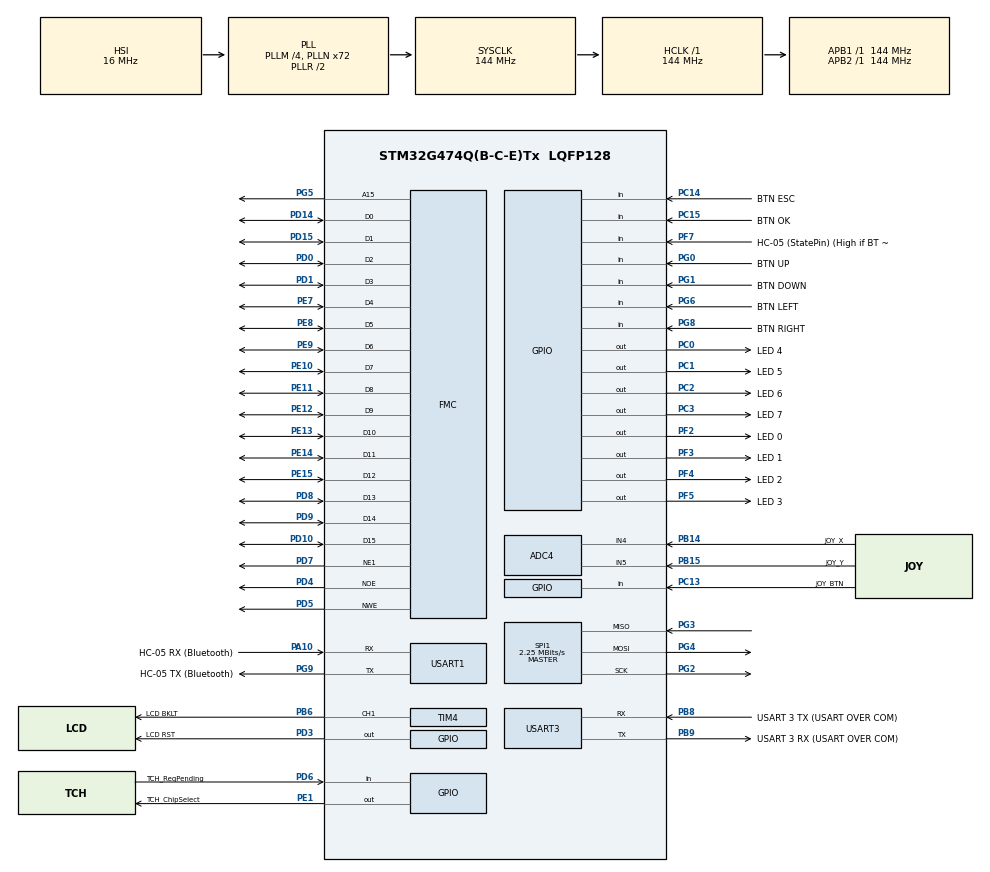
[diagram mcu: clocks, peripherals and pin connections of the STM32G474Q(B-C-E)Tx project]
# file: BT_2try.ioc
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ADC4.Channel-0\#ChannelRegularConversion=ADC_CHANNEL_4
ADC4.Channel-1\#ChannelRegularConversion=ADC_CHANNEL_5
ADC4.DMAContinuousRequests=ENABLE
ADC4.ExternalTrigConv=ADC_EXTERNALTRIG_T1_TRGO
ADC4.NbrOfConversion=2
ADC4.NbrOfConversionFlag=1
ADC4.OffsetNumber-0\#ChannelRegularConversion=ADC_OFFSET_NONE
ADC4.OffsetNumber-1\#ChannelRegularConversion=ADC_OFFSET_NONE
ADC4.Rank-0\#ChannelRegularConversion=1
ADC4.Rank-1\#ChannelRegularConversion=2
ADC4.SamplingTime-0\#ChannelRegularConversion=ADC_SAMPLETIME_640CYCLES_5
ADC4.SamplingTime-1\#ChannelRegularConversion=ADC_SAMPLETIME_640CYCLES_5
Dma.ADC4.2.Direction=DMA_PERIPH_TO_MEMORY
Dma.ADC4.2.EventEnable=DISABLE
Dma.ADC4.2.Instance=DMA1_Channel3
Dma.ADC4.2.MemDataAlignment=DMA_MDATAALIGN_HALFWORD
Dma.ADC4.2.MemInc=DMA_MINC_ENABLE
Dma.ADC4.2.Mode=DMA_CIRCULAR
Dma.ADC4.2.PeriphDataAlignment=DMA_PDATAALIGN_HALFWORD
Dma.ADC4.2.PeriphInc=DMA_PINC_DISABLE
Dma.ADC4.2.Polarity=HAL_DMAMUX_REQ_GEN_RISING
Dma.ADC4.2.Priority=DMA_PRIORITY_LOW
Dma.ADC4.2.RequestNumber=1
Dma.ADC4.2.SignalID=NONE
Dma.ADC4.2.SyncEnable=DISABLE
Dma.ADC4.2.SyncPolarity=HAL_DMAMUX_SYNC_NO_EVENT
Dma.ADC4.2.SyncRequestNumber=1
Dma.ADC4.2.SyncSignalID=NONE
Dma.Request0=USART3_RX
Dma.Request1=USART1_RX
Dma.Request2=ADC4
Dma.USART1_RX.1.Direction=DMA_PERIPH_TO_MEMORY
Dma.USART1_RX.1.EventEnable=DISABLE
Dma.USART1_RX.1.Instance=DMA1_Channel1
Dma.USART1_RX.1.MemDataAlignment=DMA_MDATAALIGN_BYTE
Dma.USART1_RX.1.MemInc=DMA_MINC_ENABLE
Dma.USART1_RX.1.Mode=DMA_NORMAL
Dma.USART1_RX.1.PeriphDataAlignment=DMA_PDATAALIGN_BYTE
Dma.USART1_RX.1.PeriphInc=DMA_PINC_DISABLE
Dma.USART1_RX.1.Polarity=HAL_DMAMUX_REQ_GEN_RISING
Dma.USART1_RX.1.Priority=DMA_PRIORITY_LOW
Dma.USART1_RX.1.RequestNumber=1
Dma.USART1_RX.1.SignalID=NONE
Dma.USART1_RX.1.SyncEnable=DISABLE
Dma.USART1_RX.1.SyncPolarity=HAL_DMAMUX_SYNC_NO_EVENT
Dma.USART1_RX.1.SyncRequestNumber=1
Dma.USART1_RX.1.SyncSignalID=NONE
Dma.USART3_RX.0.Direction=DMA_PERIPH_TO_MEMORY
Dma.USART3_RX.0.EventEnable=DISABLE
Dma.USART3_RX.0.Instance=DMA1_Channel2
Dma.USART3_RX.0.MemDataAlignment=DMA_MDATAALIGN_BYTE
Dma.USART3_RX.0.MemInc=DMA_MINC_ENABLE
Dma.USART3_RX.0.Mode=DMA_NORMAL
Dma.USART3_RX.0.PeriphDataAlignment=DMA_PDATAALIGN_BYTE
Dma.USART3_RX.0.PeriphInc=DMA_PINC_DISABLE
Dma.USART3_RX.0.Polarity=HAL_DMAMUX_REQ_GEN_RISING
Dma.USART3_RX.0.Priority=DMA_PRIORITY_LOW
Dma.USART3_RX.0.RequestNumber=1
Dma.USART3_RX.0.SignalID=NONE
Dma.USART3_RX.0.SyncEnable=DISABLE
Dma.USART3_RX.0.SyncPolarity=HAL_DMAMUX_SYNC_NO_EVENT
Dma.USART3_RX.0.SyncRequestNumber=1
Dma.USART3_RX.0.SyncSignalID=NONE
FMC.AddressSetupTime1=1
FMC.BusTurnAroundDuration1=1
FMC.DataHoldTime1=1
FMC.DataSetupTime1=1
Mcu.Family=STM32G4
Mcu.Name=STM32G474Q(B-C-E)Tx
Mcu.Package=LQFP128
NVIC.DMA1_Channel1_IRQn=true\:0\:0\:false\:false\:true\:false\:true\:true
NVIC.DMA1_Channel2_IRQn=true\:0\:0\:false\:false\:true\:false\:true\:true
NVIC.DMA1_Channel3_IRQn=true\:0\:0\:false\:false\:true\:false\:true\:true
NVIC.PriorityGroup=NVIC_PRIORITYGROUP_4
NVIC.TIM6_DAC_IRQn=true\:15\:0\:true\:false\:true\:true\:true\:true
NVIC.USART1_IRQn=true\:0\:0\:false\:false\:true\:true\:true\:true
NVIC.USART3_IRQn=true\:0\:0\:false\:false\:true\:true\:true\:true
PA10.GPIO_Label=HC-05 RX (Bluetooth)
PA10.Mode=Asynchronous
PA10.Signal=USART1_RX
PB14.GPIO_Label=JOY_X
PB14.Mode=IN4-Single-Ended
PB14.Signal=ADC4_IN4
PB15.GPIO_Label=JOY_Y
PB15.Mode=IN5-Single-Ended
PB15.Signal=ADC4_IN5
PB6.GPIO_Label=LCD BKLT
PB6.Signal=S_TIM4_CH1
PB8-BOOT0.GPIO_Label=USART 3 TX (USART OVER COM)
PB8-BOOT0.Mode=Asynchronous
PB8-BOOT0.Signal=USART3_RX
PB9.GPIO_Label=USART 3 RX (USART OVER COM)
PB9.Mode=Asynchronous
PB9.Signal=USART3_TX
PC0.GPIO_Label=LED 4
PC0.GPIO_PuPd=GPIO_NOPULL
PC0.Signal=GPIO_Output
PC1.GPIO_Label=LED 5
PC1.Signal=GPIO_Output
PC13.GPIO_Label=JOY_BTN
PC13.GPIO_PuPd=GPIO_PULLUP
PC13.Signal=GPIO_Input
PC14-OSC32_IN.GPIO_Label=BTN ESC
PC14-OSC32_IN.GPIO_PuPd=GPIO_PULLUP
PC14-OSC32_IN.Signal=GPIO_Input
PC15-OSC32_OUT.GPIO_Label=BTN OK
PC15-OSC32_OUT.GPIO_PuPd=GPIO_PULLUP
PC15-OSC32_OUT.Signal=GPIO_Input
PC2.GPIO_Label=LED 6
PC2.Signal=GPIO_Output
PC3.GPIO_Label=LED 7
PC3.Signal=GPIO_Output
PD0.Signal=FMC_D2_DA2
PD1.Signal=FMC_D3_DA3
PD10.Signal=FMC_D15_DA15
PD14.Signal=FMC_D0_DA0
PD15.Signal=FMC_D1_DA1
PD3.GPIO_Label=LCD RST
PD3.Signal=GPIO_Output
PD4.Signal=FMC_NOE
PD5.Signal=FMC_NWE
PD6.GPIO_Label=TCH_ReqPending
PD6.Signal=GPIO_Input
PD7.Mode=NorPsramChipSelect1_1
PD7.Signal=FMC_NE1
PD8.Signal=FMC_D13_DA13
PD9.Signal=FMC_D14_DA14
PE1.GPIO_Label=TCH_ChipSelect
PE1.Signal=GPIO_Output
PE10.Signal=FMC_D7_DA7
PE11.Signal=FMC_D8_DA8
PE12.Signal=FMC_D9_DA9
PE13.Signal=FMC_D10_DA10
PE14.Signal=FMC_D11_DA11
PE15.Signal=FMC_D12_DA12
PE7.Signal=FMC_D4_DA4
PE8.Signal=FMC_D5_DA5
PE9.Signal=FMC_D6_DA6
PF2.GPIO_Label=LED 0
PF2.Signal=GPIO_Output
PF3.GPIO_Label=LED 1
PF3.Signal=GPIO_Output
PF4.GPIO_Label=LED 2
PF4.Signal=GPIO_Output
PF5.GPIO_Label=LED 3
PF5.Signal=GPIO_Output
PF7.GPIO_Label=HC-05 (StatePin) (High if BT connected)
PF7.Signal=GPIO_Input
PG0.GPIO_Label=BTN UP
PG0.GPIO_PuPd=GPIO_PULLUP
PG0.Signal=GPIO_Input
PG1.GPIO_Label=BTN DOWN
PG1.GPIO_PuPd=GPIO_PULLUP
PG1.Signal=GPIO_Input
PG2.Mode=Full_Duplex_Master
PG2.Signal=SPI1_SCK
PG3.Mode=Full_Duplex_Master
PG3.Signal=SPI1_MISO
PG4.Mode=Full_Duplex_Master
PG4.Signal=SPI1_MOSI
PG5.Signal=FMC_A15
PG6.GPIO_Label=BTN LEFT
PG6.GPIO_PuPd=GPIO_PULLUP
PG6.Signal=GPIO_Input
PG8.GPIO_Label=BTN RIGHT
PG8.GPIO_PuPd=GPIO_PULLUP
PG8.Signal=GPIO_Input
PG9.GPIO_Label=HC-05 TX (Bluetooth)
PG9.Mode=Asynchronous
PG9.Signal=USART1_TX
ProjectManager.HeapSize=0x200
ProjectManager.StackSize=0x400
ProjectManager.TargetToolchain=STM32CubeIDE
RCC.ADC12Freq_Value=144000000
RCC.ADC345Freq_Value=144000000
RCC.AHBFreq_Value=144000000
RCC.APB1Freq_Value=144000000
RCC.APB1TimFreq_Value=144000000
RCC.APB2Freq_Value=144000000
RCC.APB2TimFreq_Value=144000000
RCC.CK48CLockSelection=RCC_USBCLKSOURCE_HSI48
RCC.CortexFreq_Value=144000000
RCC.EXTERNAL_CLOCK_VALUE=12288000
RCC.HCLKFreq_Value=144000000
RCC.HSE_VALUE=8000000
RCC.HSI48_VALUE=48000000
RCC.HSI_VALUE=16000000
RCC.LSE_VALUE=32768
RCC.PLLM=RCC_PLLM_DIV4
RCC.PLLN=72
RCC.SYSCLKFreq_VALUE=144000000
RCC.SYSCLKSource=RCC_SYSCLKSOURCE_PLLCLK
RCC.USBFreq_Value=48000000
RCC.VCOOutputFreq_Value=288000000
SH.FMC_A15.0=FMC_A15,A15_1
SH.FMC_D0_DA0.0=FMC_D0,16b-d1
SH.FMC_D10_DA10.0=FMC_D10,16b-d1
SH.FMC_D11_DA11.0=FMC_D11,16b-d1
SH.FMC_D12_DA12.0=FMC_D12,16b-d1
SH.FMC_D13_DA13.0=FMC_D13,16b-d1
SH.FMC_D14_DA14.0=FMC_D14,16b-d1
SH.FMC_D15_DA15.0=FMC_D15,16b-d1
SH.FMC_D1_DA1.0=FMC_D1,16b-d1
SH.FMC_D2_DA2.0=FMC_D2,16b-d1
SH.FMC_D3_DA3.0=FMC_D3,16b-d1
SH.FMC_D4_DA4.0=FMC_D4,16b-d1
SH.FMC_D5_DA5.0=FMC_D5,16b-d1
SH.FMC_D6_DA6.0=FMC_D6,16b-d1
SH.FMC_D7_DA7.0=FMC_D7,16b-d1
SH.FMC_D8_DA8.0=FMC_D8,16b-d1
SH.FMC_D9_DA9.0=FMC_D9,16b-d1
SH.FMC_NOE.0=FMC_NOE,Lcd1
SH.FMC_NWE.0=FMC_NWE,Lcd1
SH.S_TIM4_CH1.0=TIM4_CH1,PWM Generation1 CH1
SPI1.BaudRatePrescaler=SPI_BAUDRATEPRESCALER_64
SPI1.CalculateBaudRate=2.25 MBits/s
SPI1.DataSize=SPI_DATASIZE_8BIT
SPI1.Direction=SPI_DIRECTION_2LINES
SPI1.Mode=SPI_MODE_MASTER
SPI1.NSSPMode=SPI_NSS_PULSE_DISABLE
SPI1.VirtualType=VM_MASTER
TIM1.PeriodNoDither=90
TIM1.Prescaler=14399
TIM1.TIM_MasterOutputTrigger=TIM_TRGO_UPDATE
TIM4.Channel-PWM\ Generation1\ CH1=TIM_CHANNEL_1
TIM4.PeriodNoDither=99
TIM4.Prescaler=1439
TIM6.PeriodNoDither=49999
TIM6.Prescaler=143
USART1.VirtualMode-Asynchronous=VM_ASYNC
USART3.VirtualMode-Asynchronous=VM_ASYNC
VP_SYS_VS_DBSignals.Mode=DisableDeadBatterySignals
VP_TIM1_VS_ClockSourceINT.Mode=Internal
VP_TIM4_VS_ClockSourceINT.Mode=Internal
VP_TIM6_VS_ClockSourceINT.Mode=Enable_Timer
board=custom

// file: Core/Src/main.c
/* USER CODE BEGIN Header */
/**
  ******************************************************************************
  * @file           : main.c
  * @brief          : Main program body
  ******************************************************************************
  * @attention
  *
  * Copyright (c) 2022 STMicroelectronics.
  * All rights reserved.
  *
  * This software is licensed under terms that can be found in the LICENSE file
  * in the root directory of this software component.
  * If no LICENSE file comes with this software, it is provided AS-IS.
  *
  ******************************************************************************
  */

/*
 * Ta pojekt je clone vaje ko smo implementirali tipkvnico
 * To je bilo storjeno ker DMA USART ni sodeloval na kasnejših verzijah
 * Ostale komponente so bile implementirane naknadno
 *
 *Velik problem je bla UART komunikacija a se je reslo z uporabo HAL DMA UART za RX in UART_it za TX
 *
 * Funkcija printf pošilja na izhod uart3 (blocking mode) (_write)
 *
 * Vem da ni prov da je cela aplikacija narjena v main.c in v while a jebi ga
 * Sem opazu da bi blo mogoče fino kje uporablat avtomate ampak sem si sprot zmislevou delovanje kode in je blo ze prepozn (ne grem se enkrat pisat)
 *
 * Je nekej programerskih grehov ampak sej zdej sm stromar in si to lah prvosim
 *
 * lp in lep pozdrav RP
 */

/* USER CODE END Header */
#include "main.h"

/* USER CODE BEGIN Includes */

#include "LED.h"
#include "kbd.h"
#include "buf.h"
// nismo uporabili SCI
#include "timing_utils.h"
#include "periodic_services.h"
#include "lcd_backlight.h"
#include "lcd.h"
#include "joystick.h"

#include <stdio.h> //za printf

#include "HC05.h"

/* USER CODE END Includes */

/* USER CODE BEGIN PD */

#define DEBUG_MODE 1

/* USER CODE END PD */

 ADC_HandleTypeDef hadc4;
DMA_HandleTypeDef hdma_adc4;

SPI_HandleTypeDef hspi1;

TIM_HandleTypeDef htim1;

UART_HandleTypeDef huart1;
UART_HandleTypeDef huart3;
DMA_HandleTypeDef hdma_usart1_rx;
DMA_HandleTypeDef hdma_usart3_rx;

SRAM_HandleTypeDef hsram1;

void SystemClock_Config(void);
static void MX_GPIO_Init(void);
static void MX_DMA_Init(void);
static void MX_USART1_UART_Init(void);
static void MX_USART3_UART_Init(void);
static void MX_TIM6_Init(void);
static void MX_TIM4_Init(void);
static void MX_FMC_Init(void);
static void MX_SPI1_Init(void);
static void MX_ADC4_Init(void);
static void MX_TIM1_Init(void);
/* USER CODE BEGIN PFP */

void MouseMode();
void MusicMode();
void KeyboardMode();

/* USER CODE END PFP */

/* USER CODE BEGIN 0 */

//RX bufferji
#define BTBuf_SIZE 50
uint8_t BTBuf[BTBuf_SIZE];

#define CONBuf_SIZE 50
uint8_t CONBuf[CONBuf_SIZE];

void HAL_UARTEx_RxEventCallback(UART_HandleTypeDef *huart, uint16_t Size) 	//UART DMA RX handler
{
	/*
	 * Note:: Kar se pošilja na Miškov UART bo bilo s to funkcijo posredovano
	 * 		  BT modulu, to se lahko odpravi z popravkom te funkcije ampak je implementirano
	 * 		  za namene hitrega debagiranja in ker ne moti samega programa pri delovanju
	 *
	 * 		  Ugotovitev: Ta zadeva dela velik bols ko na arduinu (Software serial je trash)
	 *
	 */
	if(huart->Instance == USART1) 											// RX iz BT
		{
			HAL_UART_Transmit_IT(&huart3, BTBuf, Size); 					//pošle kar sprejme iz BT na Con

			HAL_UARTEx_ReceiveToIdle_DMA(&huart1, BTBuf, BTBuf_SIZE);		//ponovno vklopi DMA za uart
			__HAL_DMA_DISABLE_IT(&hdma_usart1_rx, DMA_IT_HT); 				//izklopi interupt Half transfer
		}

	if(huart->Instance == USART3) 										// RX iz console
	{
#if DEBUG_MODE == 1
		HAL_UART_Transmit_IT(&huart3, CONBuf, Size); 					//echo (za testirat zadeve)
#endif
		HAL_UART_Transmit_IT(&huart1, CONBuf, Size); 					//Posle prejeto iz konzole na BT

		HAL_UARTEx_ReceiveToIdle_DMA(&huart3, CONBuf, CONBuf_SIZE);		//ponovno vklopi DMA za uart
		__HAL_DMA_DISABLE_IT(&hdma_usart3_rx, DMA_IT_HT); 				//izklopi interupt Half transfer
	}
}

int _write(int file, char *ptr, int len)		//Za printf (standard output redirection)
{
	// Vhodna argumenta _write funkcije "*ptr" in "len" specificirata,
	// kje se nahajajo podatki, ki jih printf() funkcija želi poslati
	// ter kako dolgi so ti podatki (v smislu števila bajtov).

	HAL_UART_Transmit(&huart3, (uint8_t*) ptr, (uint16_t) len, 1);

	// Funkcija _write() mora vrniti število uspešno poslanih
	// znakov. Tu poenostavimo in privzamemo, da je bilo uspešno
	// poslanih vseh "len" znakov.
	return len;
}

/////////////	MOJE SPREMENLJIVKE	//////////////////////
uint8_t Mode = 0; //0 = Disconnected  1 = Mouse  2 = Keyboard  3 = Music
uint8_t OldMode = 5; //Nekej kar ni nic
//uint8_t TextUpdateFlag = 1;

/* USER CODE END 0 */

int main(void)
{

  /* MCU Configuration--------------------------------------------------------*/

  /* Reset of all peripherals, Initializes the Flash interface and the Systick. */
  HAL_Init();

  /* USER CODE BEGIN Init */

  //////////	SPREMENLJIVKE	/////////////
    uint8_t Connected = 0; 	//če je HC05 povezan z upravljano napravo = 1 //spremenljivka se bo passala naprej kot pointer

  /* USER CODE END Init */

  /* Configure the system clock */
  SystemClock_Config();

  /* Initialize all configured peripherals */
  MX_GPIO_Init();
  MX_DMA_Init();
  MX_USART1_UART_Init();
  MX_USART3_UART_Init();
  MX_TIM6_Init();
  MX_TIM4_Init();
  MX_FMC_Init();
  MX_SPI1_Init();
  MX_ADC4_Init();
  MX_TIM1_Init();

  /* Infinite loop */
  /* USER CODE BEGIN WHILE */

  //Inicializacija sistemskih modulov
  LED_init();
  KBD_init();
  PSERV_init();
  PSERV_enable(); 	//Zažene periodic services (branje tipkovnice)
  LCD_Init(); 		//Vsebuje tudi init za backlight
  LCD_uGUI_init();
  JOY_init(&hadc4, &htim1);

  BT_init(&huart1, &huart3, &Connected);

  setvbuf(stdout, NULL, _IONBF, 0);

//Znaki da je miško pričel s kodo
  LEDs_on(0b10101010);
  HAL_Delay(50);
  LEDs_off(LEDs_read());
  LEDs_on(0b01010101);
  HAL_Delay(50);
  LEDs_off(LEDs_read());
  LEDs_on(0b10101010);
  HAL_Delay(50);
  LEDs_write(0);

  HAL_UARTEx_ReceiveToIdle_DMA(&huart1, BTBuf, BTBuf_SIZE); 	//Vklop DMA za UART1 RX
  __HAL_DMA_DISABLE_IT(&hdma_usart1_rx, DMA_IT_HT);				//Izklop interuta HalfTransfer

  HAL_UARTEx_ReceiveToIdle_DMA(&huart3, CONBuf, CONBuf_SIZE);	//Vklop DMA za UART3 RX
  __HAL_DMA_DISABLE_IT(&hdma_usart3_rx, DMA_IT_HT);				//Izklop interuta HalfTransfer

#if DEBUG_MODE == 1
  HAL_UART_Transmit_IT(&huart3, (uint8_t*) "Im alive\n", 9);
#endif

  //Priprava zaslona
 LCD_uGUI_demo_Misko3();
 UG_SetForecolor(C_WHITE);
 UG_FontSelect(&FONT_16X26);
 UG_PutString(7, 90,"__________________");
 UG_FontSelect(&FONT_10X16);
 UG_PutString(295, 3,":)");

 	 while (1)
 	 {
 		 //Joystisk button to Connect or Disconnect
 		 if(JOY_get_pressed_key() == JOY_BTN_FIRE)		//Ali je JOY gumb pritisnjen
 		 {
 			if(Connected == 0)						//Ali je BT povezan ali ne
 			{BT_Connect();}
 			else
 			{BT_Disconnect();}
 		 }

 		if(HAL_GPIO_ReadPin(GPIOF, GPIO_PIN_7)) //Preverja povezanost BT modula z napravo
 		{
 			if(Mode == 0)		//To se zgodi ob prehodu iz Mode 0 na Mode 1
 			{
 				LED_on(7);			//LED 7 se prizge ko je BT povezan
 				Connected = 1;		//Postavi Connected flag da lahko ostale funkcije vidijo ali je BT povezan
 				Mode = 1;
 			}

 		}else
 		{
 			 if(Mode != 0)		//To se zgodi na pregodu na Mode 0
 			 {
 				 LED_off(7);			//LED 7 se ugasne ko je BT povezan
 				  Connected = 0;		//Postavi Connected flag da lahko ostale funkcije vidijo ali je BT povezan
 				  Mode = 0;
 			 }
 		}

	 switch(Mode)		//Mode handler
	 {
		 case 1:	//Mouse mode
			 if(OldMode != Mode)				//To se zgodi ob spremembi modov (1x prvi cikel moda)
			 {
				 KBD_flush();
				 UG_FillFrame( 0, 120, 320, 240, C_BLACK); 	//Blackout working portion
				 UG_FontSelect(&FONT_10X16);
				 UG_PutString(25, 130,"MODE: Mouse Mode");
				 UG_FontSelect(&FONT_6X8);
				 UG_PutString(15, 160,"Joystick: Move cursor");
				 UG_PutString(15, 180,"Buttons: ^ Scroll Up\n         v Scroll Down\n         < Left Click\n         > Right Click\n        OK Middle Click");
				 UG_PutString(220, 230,"ESC Next Mode");
				 OldMode = Mode;
			 }
			 MouseMode();
			 break;

		 case 2:
			 if(OldMode != Mode)
			 {
				 KBD_flush();
				 UG_FillFrame( 0, 120, 320, 240, C_BLACK); 	//Blackout working portion
				 UG_FontSelect(&FONT_10X16);
				 UG_PutString(25, 130,"MODE: Keyboard Mode");
				 UG_FontSelect(&FONT_6X8);
				 UG_PutString(15, 160,"Joystick: ^ & v Cycle character");
				 UG_PutString(15, 170,"          < Clear character");
				 UG_PutString(15, 180,"          > Next character / 3x New line");
				 UG_PutString(15, 200,"Buttons: Arrow Keys");
				 UG_PutString(15, 210,"         OK - Capslock");
				 UG_PutString(220, 230,"ESC Next Mode");
				 OldMode = Mode;
			 }
			 KeyboardMode();
			 break;

		 case 3:
			 if(OldMode != Mode)
			 {
				 KBD_flush();
				 UG_FillFrame( 0, 120, 320, 240, C_BLACK); 	//Blackout working portion
				 UG_FontSelect(&FONT_10X16);
				 UG_PutString(25, 130,"MODE: Music control Mode");
				 UG_FontSelect(&FONT_6X8);
				 UG_PutString(15, 160,"Joystick: ^ & v Volume Up/Down");
				 UG_PutString(15, 170,"          < & > Prev/Next Track");
				 UG_PutString(15, 190,"Buttons: ^ Play/Pause");
				 UG_PutString(15, 200,"         v Mute/Unmute");
				 UG_PutString(15, 210,"         < Open browser");
				 UG_PutString(15, 220,"         > Home");
				 UG_PutString(15, 230,"        OK Signature");
				 UG_PutString(220, 230,"ESC Next Mode");

				 OldMode = Mode;
			 }
			 MusicMode();
			 break;

		 case 0:
			 if(OldMode != Mode)
			 {
				 UG_FillFrame( 0, 120, 320, 240, C_BLACK); 	//Blackout working portion
				 UG_FontSelect(&FONT_10X16);
				 UG_PutString(50, 125,"Press Joystick button");
				 UG_PutString(50, 145,"to Connect/Disconnect");
				 UG_PutString(10, 200,"(1st connection is manual)");
				 UG_PutString(10, 220,"Connect to Miska3 Bluetooth");
				 OldMode = Mode;
			 }

			 break;

		 default:

			 break;
	 }

    /* USER CODE END WHILE */

  }
}

void SystemClock_Config(void)
{
  RCC_OscInitTypeDef RCC_OscInitStruct = {0};
  RCC_ClkInitTypeDef RCC_ClkInitStruct = {0};

  /** Configure the main internal regulator output voltage
  */
  HAL_PWREx_ControlVoltageScaling(PWR_REGULATOR_VOLTAGE_SCALE1);

  /** Initializes the RCC Oscillators according to the specified parameters
  * in the RCC_OscInitTypeDef structure.
  */
  RCC_OscInitStruct.OscillatorType = RCC_OSCILLATORTYPE_HSI;
  RCC_OscInitStruct.HSIState = RCC_HSI_ON;
  RCC_OscInitStruct.HSICalibrationValue = RCC_HSICALIBRATION_DEFAULT;
  RCC_OscInitStruct.PLL.PLLState = RCC_PLL_ON;
  RCC_OscInitStruct.PLL.PLLSource = RCC_PLLSOURCE_HSI;
  RCC_OscInitStruct.PLL.PLLM = RCC_PLLM_DIV4;
  RCC_OscInitStruct.PLL.PLLN = 72;
  RCC_OscInitStruct.PLL.PLLP = RCC_PLLP_DIV2;
  RCC_OscInitStruct.PLL.PLLQ = RCC_PLLQ_DIV2;
  RCC_OscInitStruct.PLL.PLLR = RCC_PLLR_DIV2;
  if (HAL_RCC_OscConfig(&RCC_OscInitStruct) != HAL_OK)
  {
    Error_Handler();
  }

  /** Initializes the CPU, AHB and APB buses clocks
  */
  RCC_ClkInitStruct.ClockType = RCC_CLOCKTYPE_HCLK|RCC_CLOCKTYPE_SYSCLK
                              |RCC_CLOCKTYPE_PCLK1|RCC_CLOCKTYPE_PCLK2;
  RCC_ClkInitStruct.SYSCLKSource = RCC_SYSCLKSOURCE_PLLCLK;
  RCC_ClkInitStruct.AHBCLKDivider = RCC_SYSCLK_DIV1;
  RCC_ClkInitStruct.APB1CLKDivider = RCC_HCLK_DIV1;
  RCC_ClkInitStruct.APB2CLKDivider = RCC_HCLK_DIV1;

  if (HAL_RCC_ClockConfig(&RCC_ClkInitStruct, FLASH_LATENCY_4) != HAL_OK)
  {
    Error_Handler();
  }
}

static void MX_ADC4_Init(void)
{

  ADC_ChannelConfTypeDef sConfig = {0};

  /** Common config
  */
  hadc4.Instance = ADC4;
  hadc4.Init.ClockPrescaler = ADC_CLOCK_SYNC_PCLK_DIV4;
  hadc4.Init.Resolution = ADC_RESOLUTION_12B;
  hadc4.Init.DataAlign = ADC_DATAALIGN_RIGHT;
  hadc4.Init.GainCompensation = 0;
  hadc4.Init.ScanConvMode = ADC_SCAN_ENABLE;
  hadc4.Init.EOCSelection = ADC_EOC_SINGLE_CONV;
  hadc4.Init.LowPowerAutoWait = DISABLE;
  hadc4.Init.ContinuousConvMode = DISABLE;
  hadc4.Init.NbrOfConversion = 2;
  hadc4.Init.DiscontinuousConvMode = DISABLE;
  hadc4.Init.ExternalTrigConv = ADC_EXTERNALTRIG_T1_TRGO;
  hadc4.Init.ExternalTrigConvEdge = ADC_EXTERNALTRIGCONVEDGE_RISING;
  hadc4.Init.DMAContinuousRequests = ENABLE;
  hadc4.Init.Overrun = ADC_OVR_DATA_PRESERVED;
  hadc4.Init.OversamplingMode = DISABLE;
  if (HAL_ADC_Init(&hadc4) != HAL_OK)
  {
    Error_Handler();
  }

  /** Configure Regular Channel
  */
  sConfig.Channel = ADC_CHANNEL_4;
  sConfig.Rank = ADC_REGULAR_RANK_1;
  sConfig.SamplingTime = ADC_SAMPLETIME_640CYCLES_5;
  sConfig.SingleDiff = ADC_SINGLE_ENDED;
  sConfig.OffsetNumber = ADC_OFFSET_NONE;
  sConfig.Offset = 0;
  if (HAL_ADC_ConfigChannel(&hadc4, &sConfig) != HAL_OK)
  {
    Error_Handler();
  }

  /** Configure Regular Channel
  */
  sConfig.Channel = ADC_CHANNEL_5;
  sConfig.Rank = ADC_REGULAR_RANK_2;
  if (HAL_ADC_ConfigChannel(&hadc4, &sConfig) != HAL_OK)
  {
    Error_Handler();
  }

}

static void MX_SPI1_Init(void)
{

  /* SPI1 parameter configuration*/
  hspi1.Instance = SPI1;
  hspi1.Init.Mode = SPI_MODE_MASTER;
  hspi1.Init.Direction = SPI_DIRECTION_2LINES;
  hspi1.Init.DataSize = SPI_DATASIZE_8BIT;
  hspi1.Init.CLKPolarity = SPI_POLARITY_LOW;
  hspi1.Init.CLKPhase = SPI_PHASE_1EDGE;
  hspi1.Init.NSS = SPI_NSS_SOFT;
  hspi1.Init.BaudRatePrescaler = SPI_BAUDRATEPRESCALER_64;
  hspi1.Init.FirstBit = SPI_FIRSTBIT_MSB;
  hspi1.Init.TIMode = SPI_TIMODE_DISABLE;
  hspi1.Init.CRCCalculation = SPI_CRCCALCULATION_DISABLE;
  hspi1.Init.CRCPolynomial = 7;
  hspi1.Init.CRCLength = SPI_CRC_LENGTH_DATASIZE;
  hspi1.Init.NSSPMode = SPI_NSS_PULSE_DISABLE;
  if (HAL_SPI_Init(&hspi1) != HAL_OK)
  {
    Error_Handler();
  }

}

static void MX_TIM1_Init(void)
{

  TIM_ClockConfigTypeDef sClockSourceConfig = {0};
  TIM_MasterConfigTypeDef sMasterConfig = {0};

  htim1.Instance = TIM1;
  htim1.Init.Prescaler = 14399;
  htim1.Init.CounterMode = TIM_COUNTERMODE_UP;
  htim1.Init.Period = 90;
  htim1.Init.ClockDivision = TIM_CLOCKDIVISION_DIV1;
  htim1.Init.RepetitionCounter = 0;
  htim1.Init.AutoReloadPreload = TIM_AUTORELOAD_PRELOAD_DISABLE;
  if (HAL_TIM_Base_Init(&htim1) != HAL_OK)
  {
    Error_Handler();
  }
  sClockSourceConfig.ClockSource = TIM_CLOCKSOURCE_INTERNAL;
  if (HAL_TIM_ConfigClockSource(&htim1, &sClockSourceConfig) != HAL_OK)
  {
    Error_Handler();
  }
  sMasterConfig.MasterOutputTrigger = TIM_TRGO_UPDATE;
  sMasterConfig.MasterOutputTrigger2 = TIM_TRGO2_RESET;
  sMasterConfig.MasterSlaveMode = TIM_MASTERSLAVEMODE_DISABLE;
  if (HAL_TIMEx_MasterConfigSynchronization(&htim1, &sMasterConfig) != HAL_OK)
  {
    Error_Handler();
  }

}

static void MX_TIM4_Init(void)
{

  LL_TIM_InitTypeDef TIM_InitStruct = {0};
  LL_TIM_OC_InitTypeDef TIM_OC_InitStruct = {0};

  LL_GPIO_InitTypeDef GPIO_InitStruct = {0};

  /* Peripheral clock enable */
  LL_APB1_GRP1_EnableClock(LL_APB1_GRP1_PERIPH_TIM4);

  TIM_InitStruct.Prescaler = 1439;
  TIM_InitStruct.CounterMode = LL_TIM_COUNTERMODE_UP;
  TIM_InitStruct.Autoreload = 99;
  TIM_InitStruct.ClockDivision = LL_TIM_CLOCKDIVISION_DIV1;
  LL_TIM_Init(TIM4, &TIM_InitStruct);
  LL_TIM_DisableARRPreload(TIM4);
  LL_TIM_SetClockSource(TIM4, LL_TIM_CLOCKSOURCE_INTERNAL);
  LL_TIM_OC_EnablePreload(TIM4, LL_TIM_CHANNEL_CH1);
  TIM_OC_InitStruct.OCMode = LL_TIM_OCMODE_PWM1;
  TIM_OC_InitStruct.OCState = LL_TIM_OCSTATE_DISABLE;
  TIM_OC_InitStruct.OCNState = LL_TIM_OCSTATE_DISABLE;
  TIM_OC_InitStruct.CompareValue = 0;
  TIM_OC_InitStruct.OCPolarity = LL_TIM_OCPOLARITY_HIGH;
  LL_TIM_OC_Init(TIM4, LL_TIM_CHANNEL_CH1, &TIM_OC_InitStruct);
  LL_TIM_OC_DisableFast(TIM4, LL_TIM_CHANNEL_CH1);
  LL_TIM_SetTriggerOutput(TIM4, LL_TIM_TRGO_RESET);
  LL_TIM_DisableMasterSlaveMode(TIM4);
  LL_AHB2_GRP1_EnableClock(LL_AHB2_GRP1_PERIPH_GPIOB);
  /**TIM4 GPIO Configuration
  PB6   ------> TIM4_CH1
  */
  GPIO_InitStruct.Pin = LCD_BKLT_Pin;
  GPIO_InitStruct.Mode = LL_GPIO_MODE_ALTERNATE;
  GPIO_InitStruct.Speed = LL_GPIO_SPEED_FREQ_LOW;
  GPIO_InitStruct.OutputType = LL_GPIO_OUTPUT_PUSHPULL;
  GPIO_InitStruct.Pull = LL_GPIO_PULL_NO;
  GPIO_InitStruct.Alternate = LL_GPIO_AF_2;
  LL_GPIO_Init(LCD_BKLT_GPIO_Port, &GPIO_InitStruct);

}

static void MX_TIM6_Init(void)
{

  LL_TIM_InitTypeDef TIM_InitStruct = {0};

  /* Peripheral clock enable */
  LL_APB1_GRP1_EnableClock(LL_APB1_GRP1_PERIPH_TIM6);

  /* TIM6 interrupt Init */
  NVIC_SetPriority(TIM6_DAC_IRQn, NVIC_EncodePriority(NVIC_GetPriorityGrouping(),15, 0));
  NVIC_EnableIRQ(TIM6_DAC_IRQn);

  TIM_InitStruct.Prescaler = 143;
  TIM_InitStruct.CounterMode = LL_TIM_COUNTERMODE_UP;
  TIM_InitStruct.Autoreload = 49999;
  LL_TIM_Init(TIM6, &TIM_InitStruct);
  LL_TIM_DisableARRPreload(TIM6);
  LL_TIM_SetTriggerOutput(TIM6, LL_TIM_TRGO_RESET);
  LL_TIM_DisableMasterSlaveMode(TIM6);

}

static void MX_USART1_UART_Init(void)
{

  huart1.Instance = USART1;
  huart1.Init.BaudRate = 115200;
  huart1.Init.WordLength = UART_WORDLENGTH_8B;
  huart1.Init.StopBits = UART_STOPBITS_1;
  huart1.Init.Parity = UART_PARITY_NONE;
  huart1.Init.Mode = UART_MODE_TX_RX;
  huart1.Init.HwFlowCtl = UART_HWCONTROL_NONE;
  huart1.Init.OverSampling = UART_OVERSAMPLING_16;
  huart1.Init.OneBitSampling = UART_ONE_BIT_SAMPLE_DISABLE;
  huart1.Init.ClockPrescaler = UART_PRESCALER_DIV1;
  huart1.AdvancedInit.AdvFeatureInit = UART_ADVFEATURE_NO_INIT;
  if (HAL_UART_Init(&huart1) != HAL_OK)
  {
    Error_Handler();
  }
  if (HAL_UARTEx_SetTxFifoThreshold(&huart1, UART_TXFIFO_THRESHOLD_1_8) != HAL_OK)
  {
    Error_Handler();
  }
  if (HAL_UARTEx_SetRxFifoThreshold(&huart1, UART_RXFIFO_THRESHOLD_1_8) != HAL_OK)
  {
    Error_Handler();
  }
  if (HAL_UARTEx_DisableFifoMode(&huart1) != HAL_OK)
  {
    Error_Handler();
  }

}

static void MX_USART3_UART_Init(void)
{

  huart3.Instance = USART3;
  huart3.Init.BaudRate = 115200;
  huart3.Init.WordLength = UART_WORDLENGTH_8B;
  huart3.Init.StopBits = UART_STOPBITS_1;
  huart3.Init.Parity = UART_PARITY_NONE;
  huart3.Init.Mode = UART_MODE_TX_RX;
  huart3.Init.HwFlowCtl = UART_HWCONTROL_NONE;
  huart3.Init.OverSampling = UART_OVERSAMPLING_16;
  huart3.Init.OneBitSampling = UART_ONE_BIT_SAMPLE_DISABLE;
  huart3.Init.ClockPrescaler = UART_PRESCALER_DIV1;
  huart3.AdvancedInit.AdvFeatureInit = UART_ADVFEATURE_NO_INIT;
  if (HAL_UART_Init(&huart3) != HAL_OK)
  {
    Error_Handler();
  }
  if (HAL_UARTEx_SetTxFifoThreshold(&huart3, UART_TXFIFO_THRESHOLD_1_8) != HAL_OK)
  {
    Error_Handler();
  }
  if (HAL_UARTEx_SetRxFifoThreshold(&huart3, UART_RXFIFO_THRESHOLD_1_8) != HAL_OK)
  {
    Error_Handler();
  }
  if (HAL_UARTEx_DisableFifoMode(&huart3) != HAL_OK)
  {
    Error_Handler();
  }

}

static void MX_DMA_Init(void)
{

  /* DMA controller clock enable */
  __HAL_RCC_DMAMUX1_CLK_ENABLE();
  __HAL_RCC_DMA1_CLK_ENABLE();

  /* DMA interrupt init */
  /* DMA1_Channel1_IRQn interrupt configuration */
  HAL_NVIC_SetPriority(DMA1_Channel1_IRQn, 0, 0);
  HAL_NVIC_EnableIRQ(DMA1_Channel1_IRQn);
  /* DMA1_Channel2_IRQn interrupt configuration */
  HAL_NVIC_SetPriority(DMA1_Channel2_IRQn, 0, 0);
  HAL_NVIC_EnableIRQ(DMA1_Channel2_IRQn);
  /* DMA1_Channel3_IRQn interrupt configuration */
  HAL_NVIC_SetPriority(DMA1_Channel3_IRQn, 0, 0);
  HAL_NVIC_EnableIRQ(DMA1_Channel3_IRQn);

}

/* FMC initialization function */
static void MX_FMC_Init(void)
{

  FMC_NORSRAM_TimingTypeDef Timing = {0};

  /** Perform the SRAM1 memory initialization sequence
  */
  hsram1.Instance = FMC_NORSRAM_DEVICE;
  hsram1.Extended = FMC_NORSRAM_EXTENDED_DEVICE;
  /* hsram1.Init */
  hsram1.Init.NSBank = FMC_NORSRAM_BANK1;
  hsram1.Init.DataAddressMux = FMC_DATA_ADDRESS_MUX_DISABLE;
  hsram1.Init.MemoryType = FMC_MEMORY_TYPE_SRAM;
  hsram1.Init.MemoryDataWidth = FMC_NORSRAM_MEM_BUS_WIDTH_16;
  hsram1.Init.BurstAccessMode = FMC_BURST_ACCESS_MODE_DISABLE;
  hsram1.Init.WaitSignalPolarity = FMC_WAIT_SIGNAL_POLARITY_LOW;
  hsram1.Init.WaitSignalActive = FMC_WAIT_TIMING_BEFORE_WS;
  hsram1.Init.WriteOperation = FMC_WRITE_OPERATION_ENABLE;
  hsram1.Init.WaitSignal = FMC_WAIT_SIGNAL_DISABLE;
  hsram1.Init.ExtendedMode = FMC_EXTENDED_MODE_DISABLE;
  hsram1.Init.AsynchronousWait = FMC_ASYNCHRONOUS_WAIT_DISABLE;
  hsram1.Init.WriteBurst = FMC_WRITE_BURST_DISABLE;
  hsram1.Init.ContinuousClock = FMC_CONTINUOUS_CLOCK_SYNC_ONLY;
  hsram1.Init.WriteFifo = FMC_WRITE_FIFO_ENABLE;
  hsram1.Init.NBLSetupTime = 0;
  hsram1.Init.PageSize = FMC_PAGE_SIZE_NONE;
  hsram1.Init.MaxChipSelectPulse = DISABLE;
  /* Timing */
  Timing.AddressSetupTime = 1;
  Timing.AddressHoldTime = 15;
  Timing.DataSetupTime = 1;
  Timing.DataHoldTime = 1;
  Timing.BusTurnAroundDuration = 1;
  Timing.CLKDivision = 16;
  Timing.DataLatency = 17;
  Timing.AccessMode = FMC_ACCESS_MODE_A;
  /* ExtTiming */

  if (HAL_SRAM_Init(&hsram1, &Timing, NULL) != HAL_OK)
  {
    Error_Handler( );
  }

}

static void MX_GPIO_Init(void)
{
  LL_GPIO_InitTypeDef GPIO_InitStruct = {0};

  /* GPIO Ports Clock Enable */
  LL_AHB2_GRP1_EnableClock(LL_AHB2_GRP1_PERIPH_GPIOC);
  LL_AHB2_GRP1_EnableClock(LL_AHB2_GRP1_PERIPH_GPIOF);
  LL_AHB2_GRP1_EnableClock(LL_AHB2_GRP1_PERIPH_GPIOE);
  LL_AHB2_GRP1_EnableClock(LL_AHB2_GRP1_PERIPH_GPIOB);
  LL_AHB2_GRP1_EnableClock(LL_AHB2_GRP1_PERIPH_GPIOD);
  LL_AHB2_GRP1_EnableClock(LL_AHB2_GRP1_PERIPH_GPIOG);
  LL_AHB2_GRP1_EnableClock(LL_AHB2_GRP1_PERIPH_GPIOA);

  /**/
  LL_GPIO_ResetOutputPin(LED_1_GPIO_Port, LED_1_Pin);

  /**/
  LL_GPIO_ResetOutputPin(LED_2_GPIO_Port, LED_2_Pin);

  /**/
  LL_GPIO_ResetOutputPin(LED_3_GPIO_Port, LED_3_Pin);

  /**/
  LL_GPIO_ResetOutputPin(LED_4_GPIO_Port, LED_4_Pin);

  /**/
  LL_GPIO_ResetOutputPin(LED_5_GPIO_Port, LED_5_Pin);

  /**/
  LL_GPIO_ResetOutputPin(LED_6_GPIO_Port, LED_6_Pin);

  /**/
  LL_GPIO_ResetOutputPin(LED_7_GPIO_Port, LED_7_Pin);

  /**/
  LL_GPIO_ResetOutputPin(LED_0_GPIO_Port, LED_0_Pin);

  /**/
  LL_GPIO_ResetOutputPin(LCD_RST_GPIO_Port, LCD_RST_Pin);

  /**/
  LL_GPIO_ResetOutputPin(TCH_ChipSelect_GPIO_Port, TCH_ChipSelect_Pin);

  /**/
  GPIO_InitStruct.Pin = JOY_BTN_Pin;
  GPIO_InitStruct.Mode = LL_GPIO_MODE_INPUT;
  GPIO_InitStruct.Pull = LL_GPIO_PULL_UP;
  LL_GPIO_Init(JOY_BTN_GPIO_Port, &GPIO_InitStruct);

  /**/
  GPIO_InitStruct.Pin = BTN_ESC_Pin;
  GPIO_InitStruct.Mode = LL_GPIO_MODE_INPUT;
  GPIO_InitStruct.Pull = LL_GPIO_PULL_UP;
  LL_GPIO_Init(BTN_ESC_GPIO_Port, &GPIO_InitStruct);

  /**/
  GPIO_InitStruct.Pin = BTN_OK_Pin;
  GPIO_InitStruct.Mode = LL_GPIO_MODE_INPUT;
  GPIO_InitStruct.Pull = LL_GPIO_PULL_UP;
  LL_GPIO_Init(BTN_OK_GPIO_Port, &GPIO_InitStruct);

  /**/
  GPIO_InitStruct.Pin = LED_1_Pin;
  GPIO_InitStruct.Mode = LL_GPIO_MODE_OUTPUT;
  GPIO_InitStruct.Speed = LL_GPIO_SPEED_FREQ_LOW;
  GPIO_InitStruct.OutputType = LL_GPIO_OUTPUT_PUSHPULL;
  GPIO_InitStruct.Pull = LL_GPIO_PULL_NO;
  LL_GPIO_Init(LED_1_GPIO_Port, &GPIO_InitStruct);

  /**/
  GPIO_InitStruct.Pin = LED_2_Pin;
  GPIO_InitStruct.Mode = LL_GPIO_MODE_OUTPUT;
  GPIO_InitStruct.Speed = LL_GPIO_SPEED_FREQ_LOW;
  GPIO_InitStruct.OutputType = LL_GPIO_OUTPUT_PUSHPULL;
  GPIO_InitStruct.Pull = LL_GPIO_PULL_NO;
  LL_GPIO_Init(LED_2_GPIO_Port, &GPIO_InitStruct);

  /**/
  GPIO_InitStruct.Pin = LED_3_Pin;
  GPIO_InitStruct.Mode = LL_GPIO_MODE_OUTPUT;
  GPIO_InitStruct.Speed = LL_GPIO_SPEED_FREQ_LOW;
  GPIO_InitStruct.OutputType = LL_GPIO_OUTPUT_PUSHPULL;
  GPIO_InitStruct.Pull = LL_GPIO_PULL_NO;
  LL_GPIO_Init(LED_3_GPIO_Port, &GPIO_InitStruct);

  /**/
  GPIO_InitStruct.Pin = HC_05_Pin;
  GPIO_InitStruct.Mode = LL_GPIO_MODE_INPUT;
  GPIO_InitStruct.Pull = LL_GPIO_PULL_NO;
  LL_GPIO_Init(HC_05_GPIO_Port, &GPIO_InitStruct);

  /**/
  GPIO_InitStruct.Pin = LED_4_Pin;
  GPIO_InitStruct.Mode = LL_GPIO_MODE_OUTPUT;
  GPIO_InitStruct.Speed = LL_GPIO_SPEED_FREQ_LOW;
  GPIO_InitStruct.OutputType = LL_GPIO_OUTPUT_PUSHPULL;
  GPIO_InitStruct.Pull = LL_GPIO_PULL_NO;
  LL_GPIO_Init(LED_4_GPIO_Port, &GPIO_InitStruct);

  /**/
  GPIO_InitStruct.Pin = LED_5_Pin;
  GPIO_InitStruct.Mode = LL_GPIO_MODE_OUTPUT;
  GPIO_InitStruct.Speed = LL_GPIO_SPEED_FREQ_LOW;
  GPIO_InitStruct.OutputType = LL_GPIO_OUTPUT_PUSHPULL;
  GPIO_InitStruct.Pull = LL_GPIO_PULL_NO;
  LL_GPIO_Init(LED_5_GPIO_Port, &GPIO_InitStruct);

  /**/
  GPIO_InitStruct.Pin = LED_6_Pin;
  GPIO_InitStruct.Mode = LL_GPIO_MODE_OUTPUT;
  GPIO_InitStruct.Speed = LL_GPIO_SPEED_FREQ_LOW;
  GPIO_InitStruct.OutputType = LL_GPIO_OUTPUT_PUSHPULL;
  GPIO_InitStruct.Pull = LL_GPIO_PULL_NO;
  LL_GPIO_Init(LED_6_GPIO_Port, &GPIO_InitStruct);

  /**/
  GPIO_InitStruct.Pin = LED_7_Pin;
  GPIO_InitStruct.Mode = LL_GPIO_MODE_OUTPUT;
  GPIO_InitStruct.Speed = LL_GPIO_SPEED_FREQ_LOW;
  GPIO_InitStruct.OutputType = LL_GPIO_OUTPUT_PUSHPULL;
  GPIO_InitStruct.Pull = LL_GPIO_PULL_NO;
  LL_GPIO_Init(LED_7_GPIO_Port, &GPIO_InitStruct);

  /**/
  GPIO_InitStruct.Pin = LED_0_Pin;
  GPIO_InitStruct.Mode = LL_GPIO_MODE_OUTPUT;
  GPIO_InitStruct.Speed = LL_GPIO_SPEED_FREQ_LOW;
  GPIO_InitStruct.OutputType = LL_GPIO_OUTPUT_PUSHPULL;
  GPIO_InitStruct.Pull = LL_GPIO_PULL_NO;
  LL_GPIO_Init(LED_0_GPIO_Port, &GPIO_InitStruct);

  /**/
  GPIO_InitStruct.Pin = BTN_UP_Pin;
  GPIO_InitStruct.Mode = LL_GPIO_MODE_INPUT;
  GPIO_InitStruct.Pull = LL_GPIO_PULL_UP;
  LL_GPIO_Init(BTN_UP_GPIO_Port, &GPIO_InitStruct);

  /**/
  GPIO_InitStruct.Pin = BTN_DOWN_Pin;
  GPIO_InitStruct.Mode = LL_GPIO_MODE_INPUT;
  GPIO_InitStruct.Pull = LL_GPIO_PULL_UP;
  LL_GPIO_Init(BTN_DOWN_GPIO_Port, &GPIO_InitStruct);

  /**/
  GPIO_InitStruct.Pin = BTN_LEFT_Pin;
  GPIO_InitStruct.Mode = LL_GPIO_MODE_INPUT;
  GPIO_InitStruct.Pull = LL_GPIO_PULL_UP;
  LL_GPIO_Init(BTN_LEFT_GPIO_Port, &GPIO_InitStruct);

  /**/
  GPIO_InitStruct.Pin = BTN_RIGHT_Pin;
  GPIO_InitStruct.Mode = LL_GPIO_MODE_INPUT;
  GPIO_InitStruct.Pull = LL_GPIO_PULL_UP;
  LL_GPIO_Init(BTN_RIGHT_GPIO_Port, &GPIO_InitStruct);

  /**/
  GPIO_InitStruct.Pin = LCD_RST_Pin;
  GPIO_InitStruct.Mode = LL_GPIO_MODE_OUTPUT;
  GPIO_InitStruct.Speed = LL_GPIO_SPEED_FREQ_LOW;
  GPIO_InitStruct.OutputType = LL_GPIO_OUTPUT_PUSHPULL;
  GPIO_InitStruct.Pull = LL_GPIO_PULL_NO;
  LL_GPIO_Init(LCD_RST_GPIO_Port, &GPIO_InitStruct);

  /**/
  GPIO_InitStruct.Pin = TCH_ReqPending_Pin;
  GPIO_InitStruct.Mode = LL_GPIO_MODE_INPUT;
  GPIO_InitStruct.Pull = LL_GPIO_PULL_NO;
  LL_GPIO_Init(TCH_ReqPending_GPIO_Port, &GPIO_InitStruct);

  /**/
  GPIO_InitStruct.Pin = TCH_ChipSelect_Pin;
  GPIO_InitStruct.Mode = LL_GPIO_MODE_OUTPUT;
  GPIO_InitStruct.Speed = LL_GPIO_SPEED_FREQ_LOW;
  GPIO_InitStruct.OutputType = LL_GPIO_OUTPUT_PUSHPULL;
  GPIO_InitStruct.Pull = LL_GPIO_PULL_NO;
  LL_GPIO_Init(TCH_ChipSelect_GPIO_Port, &GPIO_InitStruct);

}

/* USER CODE BEGIN 4 */

void MouseMode()
{
	int8_t MoveX = JOY_get_axis_position(X);
	int8_t MoveY = JOY_get_axis_position(Y);

	MoveX -= 50;				//Joystick ma 4 razločne hitrsti
	MoveX = MoveX / 10;
	MoveX *= 1.6;				//naredi rahlo nelinearnost pri premikanu

	MoveY -= 50;
	MoveY = MoveY / 10;
	MoveY *= -1;
	MoveY *= 1.6;

	static uint8_t update = 0;		//Ko Pošljemo L/D klik ga moremo nato izpustit.. to je nice rešitev da ne upocasnjuje prevec
	static int8_t Wheel = 0;
	static uint8_t Button = 0x00;
	if(Wheel || Button)
	{
		update = 1;
		Wheel = 0;
		Button = 0;
	}

	//Preverja pritisnjenost posameznih tipk na miskotu
	if(KBD_get_button_state(BTN_UP) == BTN_SIG_VALUE_PRESSED)
	{
		Wheel = 1;				//
		//SendKeyCode(0x52);	//Pošlje tipko tipkovnice Arrow up //Lepsi scroll na telefonu
		HAL_Delay(50); 			//Ni uporabno brez delaya.. scrolla prehitr
	}
	if(KBD_get_button_state(BTN_DOWN) == BTN_SIG_VALUE_PRESSED)
	{
		Wheel = -1;
		//SendKeyCode(0x51);	//Pošlje tipko tipkovnice Arrow down	//Lepsi scroll na telefonu
		HAL_Delay(50);			//Ni uporabno brez delaya.. scrolla prehitr
	}
	if(KBD_get_button_state(BTN_LEFT) == BTN_SIG_VALUE_PRESSED)
	{
		Button = BP_MOUSE_BTN_LEFT;			//0x01 == Left click
	}
	if(KBD_get_button_state(BTN_RIGHT) == BTN_SIG_VALUE_PRESSED)
	{
		Button = BP_MOUSE_BTN_RIGHT;			//0x01 == Right click
	}
	if(KBD_get_button_state(BTN_OK) == BTN_SIG_VALUE_PRESSED)
	{
		Button = BP_MOUSE_BTN_MIDDLE;
	}
	if(KBD_get_button_state(BTN_ESC) == BTN_SIG_VALUE_PRESSED)
	{
		Mode = 2; 	//Gumb esc premakne mode na Keyboard mode
	}

	if(MoveX || MoveY || Button || Wheel || update) 		//Preveri ali je sploh potrebno pošiljati premik
	{
		LED_on(0);											//Led 0 Se prižge ko se nekaj pošlje
		MouseMoveClickWheel(MoveX, MoveY, Button, Wheel); 	//Pošlji pakez za miško
		HAL_Delay(8);										//Bluetooth umira če pošiljamo prehitro
		LED_off(0);
		update = 0;
	}
}

void MusicMode()
{
	int8_t JoyposX = JOY_get_axis_position(X);
	int8_t JoyposY = JOY_get_axis_position(Y);
	static uint8_t XisInRange = 0;

	if(JoyposX >= 80 || JoyposX <= 20)	//Pozicija za X
	{
		if(XisInRange == 0)
		{
			//Ko se premaknemo v območje
			LED_on(0);
			if(JoyposX >= 80) //ko je joy na desni
			{
				SendDataByte(0x01, 0x00);	//Scan next track
			}
			else if(JoyposX <= 20)
			{
				SendDataByte(0x02, 0x00);	//Scan prev track
			}
		XisInRange = 1;
		}
	}
	else
	{
		if(XisInRange)
		{
			// ko se premaknemo izven območja
			LED_off(0);
			XisInRange = 0;
		}
	}

	if(JoyposY >= 80)		//Pozicija za Y
	{
		LED_on(0);
		SendDataByte(0x00, 0x10);	//Volume Up
		HAL_Delay(150);		//Da ne gre prehitr volume
		LED_off(0);
	}else if(JoyposY <= 20)	//Pozicija za Y
	{
		LED_on(0);
		SendDataByte(0x00, 0x20);	//Volume Down
		HAL_Delay(150);				//Da ne gre prehitr volume
		LED_off(0);
	}

	buttons_enum_t pressed_key = KBD_get_pressed_key();		//Pregleda gumbe
	switch(pressed_key)
	{
	case BTN_UP:
		SendDataByte(0x00, 0x80);	//Play/pause
		break;
	case BTN_DOWN:
		SendDataByte(0x00, 0x40);	//Mute
		break;
	case BTN_LEFT:
		SendDataByte(0x80, 0x00);	//Open Browser
		break;
	case BTN_RIGHT:
		SendDataByte(0x00, 0x01);	//Home
		break;
	case BTN_OK:
		//SendDataByte(0x04, 0x00);	//Stop music
#define MyDelay 300
		LED_on(0);
		SendString("MiSKa3\n");
		HAL_Delay(MyDelay);
		LED_off(0);
		HAL_Delay(MyDelay);
		LED_on(0);
		SendString("By: Rok Plesko ");
		HAL_Delay(MyDelay);
		LED_off(0);
		HAL_Delay(MyDelay);
		LED_on(0);
		SendString("vss IKT\n");
		HAL_Delay(MyDelay);
		LED_off(0);
		HAL_Delay(MyDelay);
		LED_on(0);
		SendString("FE UNI LJ - 1.7.2022\n");
		HAL_Delay(MyDelay);
		LED_off(0);
		HAL_Delay(MyDelay);
		LED_on(0);
		SendString("main.rokplesko");
		HAL_Delay(MyDelay);
		SendString("@gmail.com\n\n");
		HAL_Delay(MyDelay);
		LED_off(0);
		HAL_Delay(MyDelay);

		break;
	case BTN_ESC:
		Mode = 1;
		break;
	default:
		break;
	}
}

typedef enum{MID, UP, DOWN, LEFT, RIGHT} JoyPos;

char keyTable[] = {' ', 'a', 'b', 'c', 'd', 'e', 'f', 'g', 'h', 'i', 'j', 'k', 'l', 'm', 'n', 'o', 'p',
                   'q', 'r', 's', 't', 'u', 'v', 'w', 'x', 'y', 'z', '9', '8', '7', '6', '5', '4', '3', '2', '1', '0'//, '@', ';', ',', '.'
                  };
uint8_t TableLen = sizeof(keyTable) - 1; //to bi se verjetno lah bols nardil

void KeyboardMode()
{
	int8_t JoyposX = JOY_get_axis_position(X);
	int8_t JoyposY = JOY_get_axis_position(Y);
	static JoyPos CurrentPos = MID;
	static JoyPos OldPos;
	static int8_t tablePos = 0;
	static uint8_t spaceRepet = 1;
	static uint16_t CharsInRow = 0;
	static uint8_t BkSpce = 0;

	OldPos = CurrentPos;

	if(JoyposY <= 20)			//Preverja v katerem ekstremu je joystick
		CurrentPos = DOWN;
	else if(JoyposY >= 80)
		CurrentPos = UP;
	else if(JoyposX >= 80)
		CurrentPos = RIGHT;
	else if(JoyposX <= 20)
		CurrentPos = LEFT;
	else
		CurrentPos = MID;

	if(OldPos != CurrentPos)	//Preverja ali je joystick v novem extremu
	{
		CharsInRow = 0;
	}

	switch(CurrentPos)			//Izvaja kodo posameznega ekstrema
	{
	case UP:
		tablePos --;
		CharsInRow ++;
		if(tablePos <= 0)		//Za primer ko pride do preliva znakov
			tablePos = TableLen;
		if(spaceRepet < 3 || BkSpce)			//V primeru da je bil pred tem poslan Enter ne pobriše tega znaka (Entra)
			SendChar((char) 8);			//Send backspace
		spaceRepet = 0;
		BkSpce = 0;
		SendCharAddr(&keyTable[tablePos]);
		LED_on(0);
		HAL_Delay(5);
		LED_off(0);
		HAL_Delay((250 - (CharsInRow * 30) > 100) ? 250 - (CharsInRow * 30) : 100); 	//To je samo fancy način postopnega zmansevanja
		break;																				//delaya ampak da ima mejo

	case DOWN:						//Joystick dol pobriše trenutni znak in ga zamenja z njegovim naslednikom (iz keyTable)
		tablePos ++;
		CharsInRow ++;
		if(tablePos > TableLen)		//Za primer ko pride do preliva znakov
			tablePos = 1;
		if(spaceRepet < 3 || BkSpce)			//V primeru da je bil pred tem poslan Enter ne pobriše tega znaka (Entra)
			SendChar((char) 8);			//Send backspace
		spaceRepet = 0;
		BkSpce = 0;
		SendCharAddr(&keyTable[tablePos]);
		LED_on(0);
		HAL_Delay(5);
		LED_off(0);
		HAL_Delay((250 - (CharsInRow * 30) > 100) ? 250 - (CharsInRow * 30) : 100); 	//To je samo fancy način postopnega zmansevanja
		break;																				//delaya ampak da ima mejo

	case LEFT:					//Joystick v levo pobrise zadnji znak (lahko se ga tudi zadrzi)
		spaceRepet = 0;
		BkSpce ++;
		CharsInRow ++;
		tablePos = 0;						//Ob pisanju novega znaka se pozicija v tebeli postavi na začetek
		SendKeyCode(0x2a);		//Send backspace
		LED_on(0);
		HAL_Delay(5);
		LED_off(0);
		HAL_Delay((250 - (CharsInRow * 30) > 50) ? 250 - (CharsInRow * 30) : 50);		//Fancy delay
		break;

	case RIGHT:
		if(OldPos == MID)
		{
			tablePos = 0;						//Ob pisanju novega znaka se pozicija v tebeli postavi na začetek
			spaceRepet ++;						//stetje zaporednih presledkov
			BkSpce = 0;
			if(spaceRepet <= 3)
			{
				SendCharAddr(&keyTable[0]); 	//Pošlje prvi znak ki je 'SPACE'
			}else
			{
				SendChar((char) 13);			//Pošlje CR znak ki se obnaša kot enter
			}
			LED_on(0);
			HAL_Delay(5);
			LED_off(0);
		}
		break;

	case MID:
		break;
	}

	buttons_enum_t pressed_key = KBD_get_pressed_key();		//Pregleda gumbe
	switch(pressed_key)
	{
	case BTN_UP:
		SendKeyCode(0x52);
		LED_on(0);
		HAL_Delay(5);
		LED_off(0);
		break;
	case BTN_DOWN:
		SendKeyCode(0x51);
		LED_on(0);
		HAL_Delay(5);
		LED_off(0);
		break;
	case BTN_LEFT:
		SendKeyCode(0x50);
		LED_on(0);
		HAL_Delay(5);
		LED_off(0);
		break;
	case BTN_RIGHT:
		SendKeyCode(0x4F);
		LED_on(0);
		HAL_Delay(5);
		LED_off(0);
		break;
	case BTN_OK:
		LED_toggle(3);
		LED_toggle(4);
		SendKeyCode(0x39);
		LED_on(0);
		HAL_Delay(5);
		LED_off(0);
		break;
	case BTN_ESC:
		Mode = 3;
	default:
		break;
	}

}

/* USER CODE END 4 */

void Error_Handler(void)
{
  __disable_irq();
  while (1)
  {
  }
}
